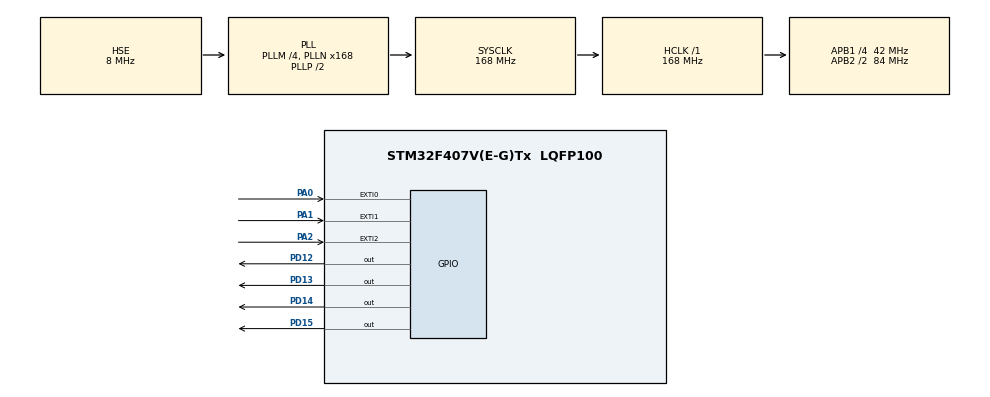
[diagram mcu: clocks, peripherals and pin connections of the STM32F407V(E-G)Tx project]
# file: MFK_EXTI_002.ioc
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Mcu.Family=STM32F4
Mcu.Name=STM32F407V(E-G)Tx
Mcu.Package=LQFP100
NVIC.EXTI0_IRQn=true\:0\:0\:false\:false\:true\:true\:true\:true
NVIC.EXTI1_IRQn=true\:0\:0\:false\:false\:true\:true\:true\:true
NVIC.EXTI2_IRQn=true\:0\:0\:false\:false\:true\:true\:true\:true
NVIC.PriorityGroup=NVIC_PRIORITYGROUP_4
PA0-WKUP.GPIO_PuPd=GPIO_PULLDOWN
PA0-WKUP.Signal=GPXTI0
PA1.GPIO_ModeDefaultEXTI=GPIO_MODE_IT_RISING
PA1.GPIO_PuPd=GPIO_PULLDOWN
PA1.Signal=GPXTI1
PA13.Mode=Serial_Wire
PA13.Signal=SYS_JTMS-SWDIO
PA14.Mode=Serial_Wire
PA14.Signal=SYS_JTCK-SWCLK
PA2.GPIO_PuPd=GPIO_PULLDOWN
PA2.Signal=GPXTI2
PD12.Signal=GPIO_Output
PD13.Signal=GPIO_Output
PD14.Signal=GPIO_Output
PD15.Signal=GPIO_Output
PH0-OSC_IN.Mode=HSE-External-Clock-Source
PH0-OSC_IN.Signal=RCC_OSC_IN
PH1-OSC_OUT.Mode=HSE-External-Clock-Source
PH1-OSC_OUT.Signal=RCC_OSC_OUT
ProjectManager.HeapSize=0x200
ProjectManager.StackSize=0x400
ProjectManager.TargetToolchain=STM32CubeIDE
RCC.48MHZClocksFreq_Value=84000000
RCC.AHBFreq_Value=168000000
RCC.APB1CLKDivider=RCC_HCLK_DIV4
RCC.APB1Freq_Value=42000000
RCC.APB1TimFreq_Value=84000000
RCC.APB2CLKDivider=RCC_HCLK_DIV2
RCC.APB2Freq_Value=84000000
RCC.APB2TimFreq_Value=168000000
RCC.CortexFreq_Value=168000000
RCC.HCLKFreq_Value=168000000
RCC.HSE_VALUE=8000000
RCC.HSI_VALUE=16000000
RCC.LSE_VALUE=32768
RCC.PLLM=4
RCC.PLLN=168
RCC.PLLSourceVirtual=RCC_PLLSOURCE_HSE
RCC.SYSCLKFreq_VALUE=168000000
RCC.SYSCLKSource=RCC_SYSCLKSOURCE_PLLCLK
RCC.VCOOutputFreq_Value=336000000
board=custom

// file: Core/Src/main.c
/* USER CODE BEGIN Header */
/**
  ******************************************************************************
  * @file           : main.c
  * @brief          : Main program body
  ******************************************************************************
  * @attention
  *
  * Copyright (c) 2023 STMicroelectronics.
  * All rights reserved.
  *
  * This software is licensed under terms that can be found in the LICENSE file
  * in the root directory of this software component.
  * If no LICENSE file comes with this software, it is provided AS-IS.
  *
  ******************************************************************************
  */
/* USER CODE END Header */
#include "main.h"

/* USER CODE BEGIN Includes */

int count = 0;
int i = 0;
void HAL_GPIO_EXTI_Callback(uint16_t GPIO_Pin);

/* USER CODE END Includes */

/* USER CODE BEGIN PTD */

void HAL_GPIO_EXTI_Callback(uint16_t GPIO_Pin)
{
		if(HAL_GPIO_ReadPin(GPIOA,GPIO_PIN_0))
		{
			if(i == 0)
			{
				count = 1000;
				i++;
			}
			else if(i == 1)
			{
				count = 750;
				i++;
			}
			else if(i == 2)
			{
				count = 500;
				i++;
			}
			else
			{
				count = 250;
				i = 0;
			}

		}
		else if(HAL_GPIO_ReadPin(GPIOA,GPIO_PIN_1))
		{
			count = 2000;
		}
		else
		{
			count = 3000;
		}
}

/* USER CODE END PTD */

void SystemClock_Config(void);
static void MX_GPIO_Init(void);

int main(void)
{

  /* MCU Configuration--------------------------------------------------------*/

  /* Reset of all peripherals, Initializes the Flash interface and the Systick. */
  HAL_Init();

  /* Configure the system clock */
  SystemClock_Config();

  /* Initialize all configured peripherals */
  MX_GPIO_Init();

  /* Infinite loop */
  while (1)
  {

    /* USER CODE BEGIN 3 */
	  HAL_GPIO_TogglePin(GPIOD,GPIO_PIN_12 | GPIO_PIN_13 | GPIO_PIN_14 | GPIO_PIN_15);
	  HAL_Delay(count);
  }
  /* USER CODE END 3 */
}

void SystemClock_Config(void)
{
  RCC_OscInitTypeDef RCC_OscInitStruct = {0};
  RCC_ClkInitTypeDef RCC_ClkInitStruct = {0};

  /** Configure the main internal regulator output voltage
  */
  __HAL_RCC_PWR_CLK_ENABLE();
  __HAL_PWR_VOLTAGESCALING_CONFIG(PWR_REGULATOR_VOLTAGE_SCALE1);

  /** Initializes the RCC Oscillators according to the specified parameters
  * in the RCC_OscInitTypeDef structure.
  */
  RCC_OscInitStruct.OscillatorType = RCC_OSCILLATORTYPE_HSE;
  RCC_OscInitStruct.HSEState = RCC_HSE_BYPASS;
  RCC_OscInitStruct.PLL.PLLState = RCC_PLL_ON;
  RCC_OscInitStruct.PLL.PLLSource = RCC_PLLSOURCE_HSE;
  RCC_OscInitStruct.PLL.PLLM = 4;
  RCC_OscInitStruct.PLL.PLLN = 168;
  RCC_OscInitStruct.PLL.PLLP = RCC_PLLP_DIV2;
  RCC_OscInitStruct.PLL.PLLQ = 4;
  if (HAL_RCC_OscConfig(&RCC_OscInitStruct) != HAL_OK)
  {
    Error_Handler();
  }

  /** Initializes the CPU, AHB and APB buses clocks
  */
  RCC_ClkInitStruct.ClockType = RCC_CLOCKTYPE_HCLK|RCC_CLOCKTYPE_SYSCLK
                              |RCC_CLOCKTYPE_PCLK1|RCC_CLOCKTYPE_PCLK2;
  RCC_ClkInitStruct.SYSCLKSource = RCC_SYSCLKSOURCE_PLLCLK;
  RCC_ClkInitStruct.AHBCLKDivider = RCC_SYSCLK_DIV1;
  RCC_ClkInitStruct.APB1CLKDivider = RCC_HCLK_DIV4;
  RCC_ClkInitStruct.APB2CLKDivider = RCC_HCLK_DIV2;

  if (HAL_RCC_ClockConfig(&RCC_ClkInitStruct, FLASH_LATENCY_5) != HAL_OK)
  {
    Error_Handler();
  }
}

static void MX_GPIO_Init(void)
{
  GPIO_InitTypeDef GPIO_InitStruct = {0};

  /* GPIO Ports Clock Enable */
  __HAL_RCC_GPIOH_CLK_ENABLE();
  __HAL_RCC_GPIOA_CLK_ENABLE();
  __HAL_RCC_GPIOD_CLK_ENABLE();

  /*Configure GPIO pin Output Level */
  HAL_GPIO_WritePin(GPIOD, GPIO_PIN_12|GPIO_PIN_13|GPIO_PIN_14|GPIO_PIN_15, GPIO_PIN_RESET);

  /*Configure GPIO pins : PA0 PA1 PA2 */
  GPIO_InitStruct.Pin = GPIO_PIN_0|GPIO_PIN_1|GPIO_PIN_2;
  GPIO_InitStruct.Mode = GPIO_MODE_IT_RISING;
  GPIO_InitStruct.Pull = GPIO_PULLDOWN;
  HAL_GPIO_Init(GPIOA, &GPIO_InitStruct);

  /*Configure GPIO pins : PD12 PD13 PD14 PD15 */
  GPIO_InitStruct.Pin = GPIO_PIN_12|GPIO_PIN_13|GPIO_PIN_14|GPIO_PIN_15;
  GPIO_InitStruct.Mode = GPIO_MODE_OUTPUT_PP;
  GPIO_InitStruct.Pull = GPIO_NOPULL;
  GPIO_InitStruct.Speed = GPIO_SPEED_FREQ_LOW;
  HAL_GPIO_Init(GPIOD, &GPIO_InitStruct);

  /* EXTI interrupt init*/
  HAL_NVIC_SetPriority(EXTI0_IRQn, 0, 0);
  HAL_NVIC_EnableIRQ(EXTI0_IRQn);

  HAL_NVIC_SetPriority(EXTI1_IRQn, 0, 0);
  HAL_NVIC_EnableIRQ(EXTI1_IRQn);

  HAL_NVIC_SetPriority(EXTI2_IRQn, 0, 0);
  HAL_NVIC_EnableIRQ(EXTI2_IRQn);

}

void Error_Handler(void)
{
  __disable_irq();
  while (1)
  {
  }
}
